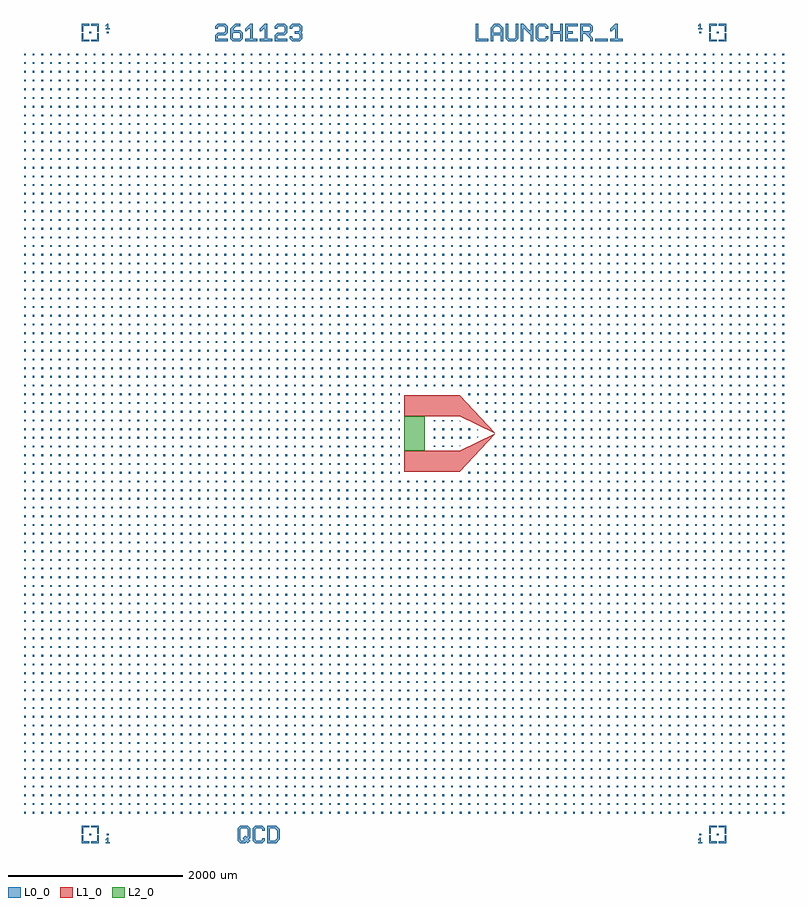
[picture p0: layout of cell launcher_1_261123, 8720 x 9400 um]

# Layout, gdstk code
import gdstk
lib = gdstk.Library(unit=1e-6, precision=1e-09)
def R(c, l, rs):  # rectangles x0, y0, x1, y1
    for r in rs: c.add(gdstk.rectangle(r[:2], r[2:], *l))
def A(c, l, x, y, w, h, nx, ny, dx, dy):  # array of equal rectangles
    R(c, l, [(x+i*dx, y+j*dy, x+i*dx+w, y+j*dy+h) for i in range(nx) for j in range(ny)])
def P(c, l, *ps):  # polygons
    for p in ps: c.add(gdstk.Polygon(p, *l))
L0_0 = (0, 0)
L1_0 = (1, 0)
L2_0 = (2, 0)

launcher_1_261123 = lib.new_cell('launcher_1_261123')
A(launcher_1_261123, L0_0, -4360, -4360, 20, 20, 88, 39, 100, 100)
A(launcher_1_261123, L0_0, -4360, -460, 20, 20, 43, 10, 100, 100)
A(launcher_1_261123, L0_0, -60, -460, 10, 20, 1, 10, 0, 100)
A(launcher_1_261123, L0_0, 740, -460, 20, 20, 37, 2, 100, 900)
A(launcher_1_261123, L0_0, 840, -360, 20, 20, 36, 2, 100, 700)
A(launcher_1_261123, L0_0, 940, -260, 20, 20, 35, 2, 100, 500)
A(launcher_1_261123, L0_0, 1040, -160, 20, 20, 34, 2, 100, 300)
A(launcher_1_261123, L0_0, 340, -150, 20, 10, 3, 2, 100, 290)
A(launcher_1_261123, L0_0, 340, -60, 20, 20, 5, 2, 100, 100)
A(launcher_1_261123, L0_0, 1140, -60, 20, 20, 33, 2, 100, 100)
A(launcher_1_261123, L0_0, -4360, 540, 20, 20, 88, 39, 100, 100)
R(launcher_1_261123, L0_0, [(-3610,-4610,-3590,-4590), (-3410,-4610,-3390,-4590), (3390,-4610,3410,-4590), (3590,-4610,3610,-4590), (2195.238,4500,2338.095,4528.571), (-3610,4590,-3590,4610), (-3410,4590,-3390,4610), (3390,4590,3410,4610), (3590,4590,3610,4610)])
P(launcher_1_261123, L0_0, [(3680,4610),(3680,4680),(3610,4680),(3610,4700),(3700,4700),(3700,4610)],
  [(3500,4610),(3500,4700),(3590,4700),(3590,4680),(3520,4680),(3520,4610)],
  [(3500,4500),(3500,4590),(3520,4590),(3520,4520),(3590,4520),(3590,4500)],
  [(3378.572,4640),(3378.572,4648.571),(3395.715,4648.571),(3395.715,4682.857),(3391.429,4682.857),(3382.858,4674.286),(3378.572,4674.286),(3378.572,4682.857),(3395.715,4700),(3404.286,4700),(3404.286,4648.571),(3421.429,4648.571),(3421.429,4640)],
  [(3610,4500),(3610,4520),(3680,4520),(3680,4590),(3700,4590),(3700,4500)],
  [(2366.666,4500),(2366.666,4528.571),(2423.809,4528.571),(2423.809,4642.857),(2409.523,4642.857),(2380.952,4614.286),(2366.666,4614.286),(2366.666,4642.857),(2423.809,4700),(2452.38,4700),(2452.38,4528.571),(2509.523,4528.571),(2509.523,4500)],
  [(995.239,4500),(995.239,4657.143),(1038.096,4700),(1095.239,4700),(1123.81,4671.428),(1052.382,4671.428),(1023.81,4642.857),(1023.81,4600),(1109.525,4600),(1109.525,4642.857),(1080.953,4671.428),(1123.81,4671.428),(1138.096,4657.143),(1138.096,4500),(1109.525,4500),(1109.525,4571.429),(1023.81,4571.429),(1023.81,4500)],
  [(1538.095,4500),(1509.524,4528.571),(1509.524,4671.428),(1538.095,4700),(1623.81,4700),(1652.381,4671.428),(1652.381,4642.857),(1623.81,4642.857),(1623.81,4657.143),(1609.524,4671.428),(1552.381,4671.428),(1538.095,4657.143),(1538.095,4542.857),(1552.381,4528.571),(1609.524,4528.571),(1623.81,4542.857),(1623.81,4557.143),(1652.381,4557.143),(1652.381,4528.571),(1623.81,4500)],
  [(2023.809,4500),(2023.809,4700),(2138.095,4700),(2166.666,4671.428),(2052.38,4671.428),(2052.38,4614.286),(2123.809,4614.286),(2138.095,4628.571),(2138.095,4657.143),(2123.809,4671.428),(2166.666,4671.428),(2166.666,4614.286),(2138.095,4585.714),(2138.095,4571.429),(2166.666,4542.857),(2166.666,4500),(2138.095,4500),(2138.095,4528.571),(2080.952,4585.714),(2052.38,4585.714),(2052.38,4500)],
  [(1680.952,4500),(1680.952,4700),(1709.523,4700),(1709.523,4614.286),(1795.238,4614.286),(1795.238,4700),(1823.809,4700),(1823.809,4500),(1795.238,4500),(1795.238,4585.714),(1709.523,4585.714),(1709.523,4500)],
  [(1852.381,4500),(1852.381,4700),(1995.238,4700),(1995.238,4671.428),(1880.952,4671.428),(1880.952,4614.286),(1938.095,4614.286),(1938.095,4585.714),(1880.952,4585.714),(1880.952,4528.571),(1995.238,4528.571),(1995.238,4500)],
  [(1195.238,4500),(1166.667,4528.571),(1166.667,4700),(1195.238,4700),(1195.238,4542.857),(1209.524,4528.571),(1266.667,4528.571),(1280.953,4542.857),(1280.953,4700),(1309.524,4700),(1309.524,4528.571),(1280.953,4500)],
  [(1338.096,4500),(1338.096,4700),(1366.667,4700),(1438.096,4628.571),(1452.382,4628.571),(1452.382,4700),(1480.953,4700),(1480.953,4500),(1452.382,4500),(1452.382,4571.429),(1380.953,4642.857),(1366.667,4642.857),(1366.667,4500)],
  [(823.81,4500),(823.81,4700),(852.381,4700),(852.381,4528.571),(966.667,4528.571),(966.667,4500)],
  [(840,40),(840,46.875),(854.103,40)],
  [(640,140),(640,144.375),(648.974,140)],
  [(-1652.381,4500),(-1652.381,4528.571),(-1595.238,4528.571),(-1595.238,4642.857),(-1609.524,4642.857),(-1638.095,4614.286),(-1652.381,4614.286),(-1652.381,4642.857),(-1595.238,4700),(-1566.667,4700),(-1566.667,4528.571),(-1509.524,4528.571),(-1509.524,4500)],
  [(-1480.953,4500),(-1480.953,4571.429),(-1452.382,4600),(-1380.953,4600),(-1366.667,4614.286),(-1366.667,4657.143),(-1380.953,4671.428),(-1438.096,4671.428),(-1452.382,4657.143),(-1452.382,4642.857),(-1480.953,4642.857),(-1480.953,4671.428),(-1452.382,4700),(-1366.667,4700),(-1338.096,4671.428),(-1338.096,4600),(-1366.667,4571.429),(-1438.096,4571.429),(-1452.382,4557.143),(-1452.382,4528.571),(-1338.096,4528.571),(-1338.096,4500)],
  [(-1280.953,4500),(-1309.524,4528.571),(-1309.524,4557.143),(-1280.953,4557.143),(-1280.953,4542.857),(-1266.667,4528.571),(-1209.524,4528.571),(-1195.238,4542.857),(-1195.238,4571.429),(-1209.524,4585.714),(-1252.381,4585.714),(-1252.381,4614.286),(-1209.524,4614.286),(-1195.238,4628.571),(-1195.238,4657.143),(-1209.524,4671.428),(-1266.667,4671.428),(-1280.953,4657.143),(-1280.953,4642.857),(-1309.524,4642.857),(-1309.524,4671.428),(-1280.953,4700),(-1195.238,4700),(-1166.667,4671.428),(-1166.667,4614.286),(-1180.953,4600),(-1166.667,4585.714),(-1166.667,4528.571),(-1195.238,4500)],
  [(-2166.666,4500),(-2166.666,4571.429),(-2138.095,4600),(-2066.666,4600),(-2052.38,4614.286),(-2052.38,4657.143),(-2066.666,4671.428),(-2123.809,4671.428),(-2138.095,4657.143),(-2138.095,4642.857),(-2166.666,4642.857),(-2166.666,4671.428),(-2138.095,4700),(-2052.38,4700),(-2023.809,4671.428),(-2023.809,4600),(-2052.38,4571.429),(-2123.809,4571.429),(-2138.095,4557.143),(-2138.095,4528.571),(-2023.809,4528.571),(-2023.809,4500)],
  [(-1966.667,4500),(-1995.238,4528.571),(-1995.238,4642.857),(-1938.095,4700),(-1880.952,4700),(-1880.952,4671.428),(-1923.809,4671.428),(-1952.381,4642.857),(-1952.381,4628.571),(-1880.952,4628.571),(-1852.381,4600),(-1952.381,4600),(-1966.667,4585.714),(-1966.667,4542.857),(-1952.381,4528.571),(-1895.238,4528.571),(-1880.952,4542.857),(-1880.952,4585.714),(-1895.238,4600),(-1852.381,4600),(-1852.381,4528.571),(-1880.952,4500)],
  [(-1823.809,4500),(-1823.809,4528.571),(-1766.666,4528.571),(-1766.666,4642.857),(-1780.952,4642.857),(-1809.523,4614.286),(-1823.809,4614.286),(-1823.809,4642.857),(-1766.666,4700),(-1738.095,4700),(-1738.095,4528.571),(-1680.952,4528.571),(-1680.952,4500)],
  [(-3700,4610),(-3700,4700),(-3610,4700),(-3610,4680),(-3680,4680),(-3680,4610)],
  [(-3421.429,4640),(-3421.429,4648.571),(-3404.286,4648.571),(-3404.286,4682.857),(-3408.572,4682.857),(-3417.143,4674.286),(-3421.429,4674.286),(-3421.429,4682.857),(-3404.286,4700),(-3395.715,4700),(-3395.715,4648.571),(-3378.572,4648.571),(-3378.572,4640)],
  [(-3590,4500),(-3590,4520),(-3520,4520),(-3520,4590),(-3500,4590),(-3500,4500)],
  [(-3700,4500),(-3700,4590),(-3680,4590),(-3680,4520),(-3610,4520),(-3610,4500)],
  [(-3520,4610),(-3520,4680),(-3590,4680),(-3590,4700),(-3500,4700),(-3500,4610)],
  [(-3520,-4590),(-3520,-4520),(-3590,-4520),(-3590,-4500),(-3500,-4500),(-3500,-4590)],
  [(-3590,-4700),(-3590,-4680),(-3520,-4680),(-3520,-4610),(-3500,-4610),(-3500,-4700)],
  [(-3700,-4590),(-3700,-4500),(-3610,-4500),(-3610,-4520),(-3680,-4520),(-3680,-4590)],
  [(-3700,-4700),(-3700,-4610),(-3680,-4610),(-3680,-4680),(-3610,-4680),(-3610,-4700)],
  [(-3421.429,-4700),(-3421.429,-4691.429),(-3404.286,-4691.429),(-3404.286,-4657.143),(-3408.572,-4657.143),(-3417.143,-4665.714),(-3421.429,-4665.714),(-3421.429,-4657.143),(-3404.286,-4640),(-3395.715,-4640),(-3395.715,-4691.429),(-3378.572,-4691.429),(-3378.572,-4700)],
  [(-1709.524,-4700),(-1738.095,-4671.429),(-1738.095,-4528.572),(-1709.524,-4500),(-1623.809,-4500),(-1595.238,-4528.572),(-1595.238,-4557.143),(-1623.809,-4557.143),(-1623.809,-4542.857),(-1638.095,-4528.572),(-1695.238,-4528.572),(-1709.524,-4542.857),(-1709.524,-4657.143),(-1695.238,-4671.429),(-1638.095,-4671.429),(-1623.809,-4657.143),(-1623.809,-4642.857),(-1595.238,-4642.857),(-1595.238,-4671.429),(-1623.809,-4700)],
  [(-1880.953,-4700),(-1909.524,-4671.429),(-1909.524,-4528.572),(-1880.953,-4500),(-1795.238,-4500),(-1766.667,-4528.572),(-1866.667,-4528.572),(-1880.953,-4542.857),(-1880.953,-4657.143),(-1866.667,-4671.429),(-1838.095,-4671.429),(-1838.095,-4657.143),(-1852.381,-4642.857),(-1823.81,-4614.286),(-1809.524,-4628.571),(-1795.238,-4628.571),(-1795.238,-4542.857),(-1809.524,-4528.572),(-1766.667,-4528.572),(-1766.667,-4642.857),(-1780.953,-4657.143),(-1766.667,-4671.429),(-1795.238,-4700),(-1809.524,-4685.714),(-1823.81,-4700)],
  [(-1566.667,-4700),(-1566.667,-4500),(-1466.667,-4500),(-1438.096,-4528.572),(-1538.096,-4528.572),(-1538.096,-4671.429),(-1480.953,-4671.429),(-1452.381,-4642.857),(-1452.381,-4557.143),(-1480.953,-4528.572),(-1438.096,-4528.572),(-1423.81,-4542.857),(-1423.81,-4657.143),(-1466.667,-4700)],
  [(640,-144.375),(640,-140),(648.974,-140)],
  [(840,-46.875),(840,-40),(854.103,-40)],
  [(3500,-4590),(3500,-4500),(3590,-4500),(3590,-4520),(3520,-4520),(3520,-4590)],
  [(3378.572,-4700),(3378.572,-4691.429),(3395.715,-4691.429),(3395.715,-4657.143),(3391.429,-4657.143),(3382.858,-4665.714),(3378.572,-4665.714),(3378.572,-4657.143),(3395.715,-4640),(3404.286,-4640),(3404.286,-4691.429),(3421.429,-4691.429),(3421.429,-4700)],
  [(3500,-4700),(3500,-4610),(3520,-4610),(3520,-4680),(3590,-4680),(3590,-4700)],
  [(3680,-4590),(3680,-4520),(3610,-4520),(3610,-4500),(3700,-4500),(3700,-4590)],
  [(3610,-4700),(3610,-4680),(3680,-4680),(3680,-4610),(3700,-4610),(3700,-4700)])
R(launcher_1_261123, L1_0, [(0,-440,640,-200), (0,200,640,440)])
P(launcher_1_261123, L1_0, [(1040,5),(640,200),(640,440),(1040,11)],
  [(640,-440),(640,-200),(1040,-5),(1040,-11)])
R(launcher_1_261123, L2_0, [(0,-200,240,200)])

lib.write_gds('launcher_1_261123.gds')
